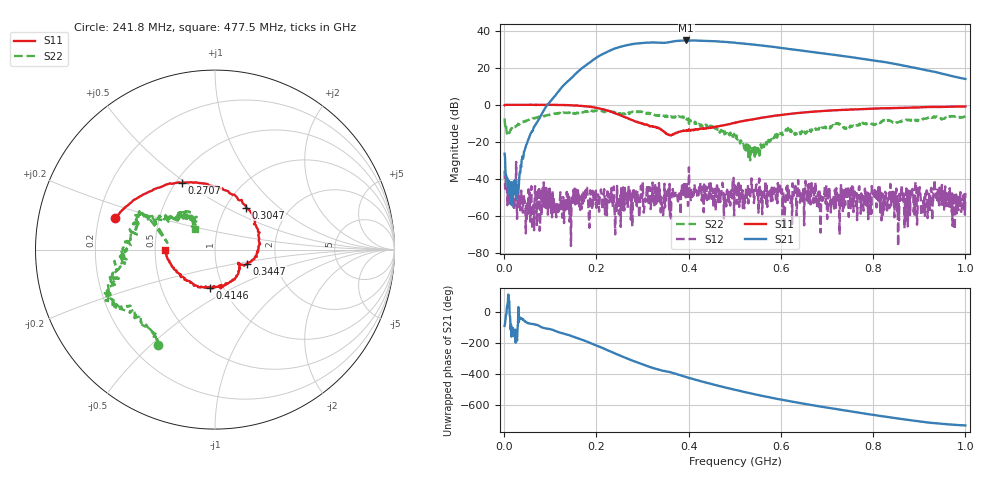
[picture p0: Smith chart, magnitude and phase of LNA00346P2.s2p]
! Created with skrf 1.9.0 (http://scikit-rf.org).
# Hz S RI R 50.0
!freq ReS11 ImS11 ReS21 ImS21 ReS12 ImS12 ReS22 ImS22
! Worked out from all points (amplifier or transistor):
!   1001 points, 1 MHz to 1 GHz, reference 50 ohm
!   highest |S21| = 34.8 dB at 394.6 MHz (marker M1)
!   |S21| within 3 dB of that: 259 MHz to 568 MHz (309 MHz wide, 74.7 % of centre)
!   unconditionally stable (mu >= 1): start of sweep to 78.68 MHz; 321.8 MHz to 400.2 MHz; 401 MHz to 932.9 MHz (the widest 3 of 36)
!   at 166.8 MHz: K = 1.43, MAG = 32.5 dB, |S12| = -53.5 dB
!   at 500.5 MHz: K = 1.78, MAG = 34.1 dB, |S12| = -44.9 dB
!   at 1 GHz: K = 3.44, MAG = 22.6 dB, |S12| = -47.7 dB
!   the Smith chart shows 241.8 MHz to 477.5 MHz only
!   S11 on the Smith chart (normalised r, x): 241.8 MHz: 0.27, +0.14; 270.7 MHz: 0.54, +0.48; 304.7 MHz: 1.24, +0.63; 344.7 MHz: 1.41, -0.23; 414.6 MHz: 0.87, -0.39; 477.5 MHz: 0.56, -0.00
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1000000  0.9729 -0.00144  0.00089 -0.0474  -0.0158 0.00494  0.3033 0.2984
1.07893e8  0.5194 -0.8494  -0.7453 -1.429  -0.00114 0.00279  0.4366 -0.3696
1.67833e8  -0.2562 -0.8947  -9.596 -0.4697  -0.00126 -0.000835  0.0341 -0.6257
2.08792e8  -0.688 -0.3801  -15.16 15.81  -0.0028 -0.00216  -0.2147 -0.6486
2.41759e8  -0.5558 0.1752  -0.7864 33.87  0.000229 0.00198  -0.3162 -0.5304
2.7073e8  -0.1848 0.3714  23.98 34.6  -0.00214 -0.00207  -0.5304 -0.3296
3.04696e8  0.1731 0.2338  45.5 13.93  0.000184 -0.00205  -0.5645 -0.1981
3.34666e8  0.2316 -0.0232  46.96 -9.878  -0.00244 -0.00025  -0.5302 -0.0397
3.44656e8  0.1765 -0.078  44.41 -15.75  -1.26e-05 0.00102  -0.511 0.0118
3.68632e8  0.1365 -0.0919  42.74 -30.65  -0.00167 0.00354  -0.4344 0.1405
3.94606e8  0.0751 -0.1864  27.65 -47.65  0.00185 0.00275  -0.3912 0.1817
4.14586e8  -0.0269 -0.2134  12.47 -53.21  0.00205 0.00448  -0.2598 0.1552
4.45555e8  -0.184 -0.1507  -10.76 -52.06  0.00259 0.00273  -0.1675 0.1948
4.77523e8  -0.2813 -0.00243  -29.52 -41.01  0.00363 -0.00105  -0.1109 0.1135
5.005e8  -0.2918 0.1328  -38 -29.22  0.000213 -0.00571  -0.1031 0.1105
5.4046e8  -0.2097 0.3495  -41.77 -7.967  0.00463 -0.00167  -0.058 0.0244
5.88412e8  0.00765 0.5089  -34.21 11.89  0.00392 -0.00174  -0.096 -0.0811
6.67333e8  0.4017 0.5069  -12.73 23.5  0.000733 -0.00513  -0.2088 -0.054
7.53247e8  0.6868 0.2844  4.239 18.83  -0.00186 -0.00663  -0.2517 -0.0163
8.34166e8  0.8074 0.0105  10.37 8.9  0.0017 0.00378  -0.3715 -0.0224
9.13087e8  0.8178 -0.2722  8.635 1.229  -0.00101 -0.0038  -0.3958 0.1527
1e9  0.7275 -0.5329  4.88 -1.099  -0.00386 -0.00141  -0.3688 0.3171
